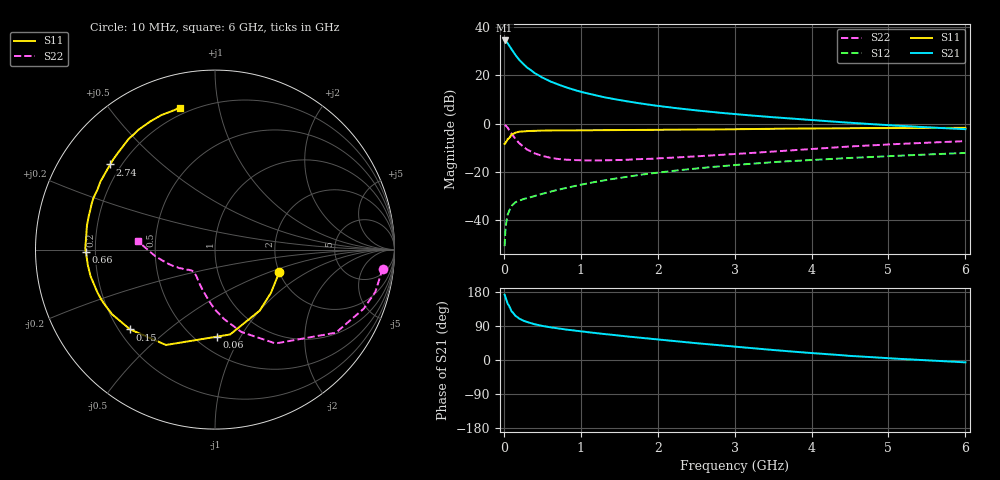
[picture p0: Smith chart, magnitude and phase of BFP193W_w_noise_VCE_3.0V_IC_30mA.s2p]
! Infineon Technologies  Discrete & RF Semiconductors
! BFP193W
! VCE = 3.0 V,  IC =  30 mA
! Common Emitter S-Parameters:  Jan 2016
# GHz  S  MA  R  50
!  f  S11  S21  S12  S22
! GHz  MAG  ANG  MAG  ANG  MAG  ANG  MAG  ANG
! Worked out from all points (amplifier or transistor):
!   210 points, 10 MHz to 6 GHz, reference 50 ohm
!   highest |S21| = 34.4 dB at 10 MHz (marker M1)
!   |S21| within 3 dB of that: start of sweep to 86.36 MHz
!   unconditionally stable (mu >= 1): 786.7 MHz to 3.972 GHz
!   at 185 MHz: K = 0.43, MSG = 29.6 dB, |S12| = -32.1 dB
!   at 1.52 GHz: K = 1.12, MAG = 13.9 dB, |S12| = -22.4 dB
!   at 6 GHz: K = 0.94, MSG = 4.9 dB, |S12| = -12.2 dB
!   lowest NFmin = 1.90 dB at 450 MHz
!   S11 on the Smith chart (normalised r, x): 10 MHz: 2.00, -0.58; 60 MHz: 0.63, -0.80; 150 MHz: 0.24, -0.38; 660 MHz: 0.16, -0.01; 2.74 GHz: 0.16, +0.35; 6 GHz: 0.16, +0.77
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0.01  0.3797 -19.2  52.23 172.3  0.0029 84.0  0.94 -6.5
0.02  0.3942 -37.8  51.52 166.3  0.0059 74.5  0.924 -14.8
0.03  0.4215 -53.8  50 160.1  0.0085 75.0  0.8914 -21.7
0.05  0.4804 -79.9  45.63 148.6  0.0131 65.1  0.8173 -34.5
0.06  0.4848 -88.5  43.04 145.5  0.0143 60.9  0.7701 -38.1
0.1  0.5974 -117.2  34.41 128.7  0.0197 49.7  0.622 -57.2
0.15  0.649 -136.7  26.22 116.5  0.0235 43.8  0.4823 -72.2
0.2  0.6772 -147.8  20.73 109.1  0.0252 41.8  0.3919 -82.3
0.26  0.6918 -156.3  16.59 103.2  0.0275 42.0  0.3254 -91.1
0.3  0.6975 -160.3  14.45 100.1  0.0285 42.2  0.2905 -96.2
0.4  0.709 -168.0  11.04 94.3  0.0315 44.7  0.2416 -105.6
0.5  0.7138 -173.1  8.924 89.9  0.0351 47.9  0.2138 -112.9
0.66  0.7201 -179.1  6.858 84.7  0.0409 51.2  0.1895 -121.0
0.8  0.7209 176.8  5.645 80.6  0.0461 53.6  0.1787 -126.1
1.02  0.7239 171.5  4.451 75.3  0.0549 56.2  0.1733 -132.1
1.4  0.7278 163.8  3.269 66.5  0.0706 58.0  0.1751 -138.0
2.02  0.7361 152.4  2.296 53.7  0.0974 57.2  0.1907 -144.0
2.74  0.7526 140.9  1.712 40.1  0.1275 53.6  0.2209 -151.9
3.1  0.7632 135.2  1.518 33.6  0.1424 51.3  0.239 -156.3
4.1  0.793 121.4  1.144 16.9  0.1802 44.4  0.3038 -169.1
5.1  0.8067 111.0  0.904 3.5  0.2146 37.7  0.3754 -179.9
6  0.8145 103.8  0.763 -6.2  0.246 32.3  0.4319 173.6
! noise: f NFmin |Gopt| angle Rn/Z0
0.45  1.9  0.4  180  0.09
0.9  1.95  0.43  -173  0.11
1.8  2.4  0.58  -144  0.24
